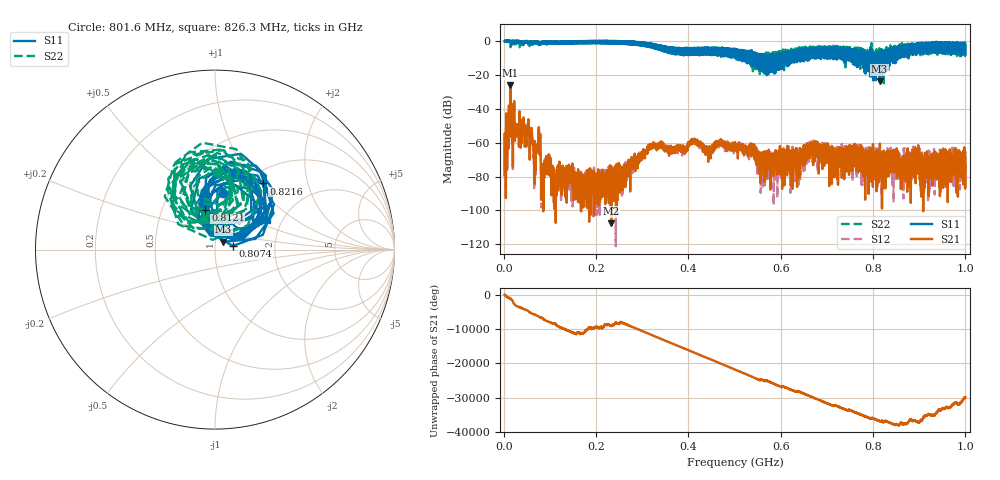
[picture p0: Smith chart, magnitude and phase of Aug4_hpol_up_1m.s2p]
!Keysight Technologies N9923A: A.12.45
!Date: Tuesday, 05 August 2025 19:58:46
!Timezone: (UTC+08:00) Kuala Lumpur, Singapore
!Model: N9923A
!Serial: MY61181427
!GPS Latitude:
!GPS Longitude:
!GPS TimeStamp: 0001-01-01 00:00:00Z
!GPS Seconds Since Last Read: 0
!CHECKSUM:1482925107
!Correction: S11(ON U)S21(ON U)S12(ON U)S22(ON U)
!S2P File: Measurements:S11,S21,S12,S22:
# Hz S DB R 50
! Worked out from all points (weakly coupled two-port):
!   4001 points, 2 MHz to 1 GHz, reference 50 ohm
!   highest |S21| = -26.26 dB at 14.72 MHz (marker M1); lowest = -107.5 dB at 233.3 MHz (marker M2)
!   lowest |S11| = -23.9 dB at 814.1 MHz (marker M3), VSWR 1.14, Z = 54.7 + j4.8 ohm
!   |S11| at or under -10 dB: 552.3313 MHz to 553.2783 MHz (947 kHz wide, 0.171 % of centre); 572.5555 MHz to 573.6272 MHz (1.072 MHz wide, 0.187 % of centre); 586.0674 MHz to 587.0982 MHz (1.031 MHz wide, 0.176 % of centre)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
!   |S22| runs from -25.1 to 0.1 dB; largest |S21 - S12| = 0.0013
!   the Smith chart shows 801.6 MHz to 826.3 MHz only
!   S11 on the Smith chart (normalised r, x): 801.6 MHz: 0.89, +0.62; 807.4 MHz: 1.22, +0.05; 812.1 MHz: 0.82, +0.38; 821.6 MHz: 1.18, +1.10; 826.3 MHz: 1.68, +0.62
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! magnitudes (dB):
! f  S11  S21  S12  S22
! 2 MHz  -0.1  -79.1  -75.9  -0.1
! 10.23 MHz  0.0  -63.7  -62.9  0.0
! 14.72 MHz  -0.4  -26.3  -26.1  -3.8
! 56.89 MHz  -0.2  -58.3  -58.4  -1.9
! 68.62 MHz  -0.3  -71.8  -73.8  -1.2
! 74.85 MHz  -1.1  -58.1  -58.0  -1.0
! 85.83 MHz  -1.0  -100.4  -84.8  -0.9
! 94.07 MHz  -0.8  -70.5  -73.8  -1.1
! 168.4 MHz  -1.4  -87.2  -79.9  -1.3
! 233.3 MHz  -0.2  -107.5  -79.0  -0.1
! 334.8 MHz  -4.3  -62.1  -60.9  -5.2
! 501 MHz  -6.9  -59.7  -61.5  -9.5
! 581.3 MHz  -15.2  -71.3  -71.3  -8.7
! 667.4 MHz  -10.1  -63.0  -60.2  -5.4
! 801.6 MHz  -10.0  -72.4  -66.9  -7.4
! 807.4 MHz  -19.9  -88.7  -67.3  -6.5
! 812.1 MHz  -12.9  -66.8  -65.0  -6.8
! 814.1 MHz  -23.9  -80.5  -66.2  -5.5
! 821.6 MHz  -6.8  -73.5  -81.5  -12.8
! 826.3 MHz  -9.5  -76.5  -68.8  -15.0
! 833.8 MHz  -6.4  -66.8  -68.0  -5.5
! 1 GHz  -2.7  -73.7  -73.7  -6.4
